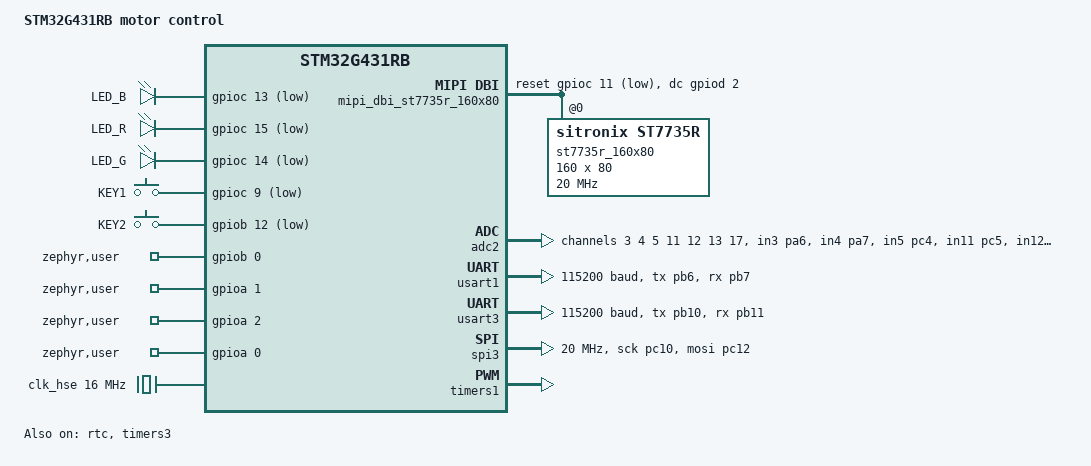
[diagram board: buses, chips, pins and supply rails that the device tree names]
/dts-v1/;
#include <st/g4/stm32g431Xb.dtsi>
#include <st/g4/stm32g431r(6-8-b)tx-pinctrl.dtsi>
#include <zephyr/dt-bindings/input/input-event-codes.h>
#include <zephyr/dt-bindings/timer/stm32-timer.h>
#include <zephyr/dt-bindings/input/input-event-codes.h>

/ {
    model = "STM32G431RB  motor control";
    compatible = "st,stm32g431rb-motor";

    chosen {
		zephyr,console = &usart1;
		zephyr,shell-uart = &usart1;
		zephyr,sram = &sram0;
		zephyr,flash = &flash0;
		zephyr,code-partition = &slot0_partition;
		zephyr,display = &st7735r_160x80;
	};

    aliases {
  		qdec0 = &qdec0;
		pwm1 = &pwm1;
		tty3 = &usart3;
		tim1 = &timers1;
		adc2 = &adc2;
    };

	mipi_dbi_st7735r_160x80 {
		compatible = "zephyr,mipi-dbi-spi";
		dc-gpios = <&gpiod 2 GPIO_ACTIVE_HIGH>;
		reset-gpios = <&gpioc 11 GPIO_ACTIVE_LOW>;
		spi-dev = <&spi3>;
		write-only;
		#address-cells = <1>;
		#size-cells = <0>;

		st7735r_160x80: st7735r@0 {
			compatible = "sitronix,st7735r";
			mipi-max-frequency = <DT_FREQ_M(20)>;
			mipi-mode = "MIPI_DBI_MODE_SPI_4WIRE";
			reg = <0>;
			width = <160>;
			height = <80>;
			// inversion-on;
			rgb-is-inverted;
			x-offset = <0>;
			y-offset = <24>;
			pwctr1 = [AB 0B 04];
			pwctr2 = [C5];
			pwctr3 = [0D 00];
			pwctr4 = [8D 6A];
			pwctr5 = [8D EE];
			invctr = <03>;
			frmctr1 = [05 3C 3C];
			frmctr2 = [05 3C 3C];
			frmctr3 = [05 3C 3C 05 3C 3C];
			vmctr1 = <15>;
			gamctrp1 = [07 0E 08 07 10 07 02 07 09 0F 25 36 00 08 04 10];
			gamctrn1 = [0A 0D 08 07 0F 07 02 07 09 0F 25 35 00 09 04 10];
			colmod = <5>;
			madctl = <0xa0>;
			caset = [00 01 00 a0];
			raset = [00 1a 00 69];
		};
	};

	leds {
		compatible = "gpio-leds";
		
		blue_led: led_b {
			gpios = <&gpioc 13 GPIO_ACTIVE_LOW>;
			label = "LED_B";
		};

		red_led: led_r {
			gpios = <&gpioc 15 GPIO_ACTIVE_LOW>;
			label = "LED_R";
		};

		green_led: led_g {
			gpios = <&gpioc 14 GPIO_ACTIVE_LOW>;
			label = "LED_G";
		};
	};

	buttons:buttons {
		compatible = "gpio-keys";
		status = "okay";

		key1: key1 {
			label = "KEY1";
			gpios = <&gpioc 9 GPIO_ACTIVE_LOW>;
			zephyr,code = <INPUT_KEY_1>;
		};

		key2: key2 {
			label = "KEY2";
			gpios = <&gpiob 12 GPIO_ACTIVE_LOW>;
			zephyr,code = <INPUT_KEY_2>;
		};
	};
	
	zephyr,user {
		gpios = <&gpiob 0 GPIO_ACTIVE_HIGH>,
				<&gpioa 1 GPIO_ACTIVE_HIGH>,
				<&gpioa 2 GPIO_ACTIVE_HIGH>,
				<&gpioa 0 GPIO_ACTIVE_HIGH>;
		status = "okay";
	};
};

&clk_lsi {
	status = "okay";
};

&clk_hsi48 {
	status = "okay";
};

&clk_hse {
	clock-frequency = <DT_FREQ_M(16)>;
	status = "okay";
};

&pll {
	div-m = <4>;
	mul-n = <85>;
	div-p = <2>;
	div-q = <2>;
	div-r = <2>;
	clocks = <&clk_hse>;
	status = "okay";
};

&rcc {
	clocks = <&pll>;
	clock-frequency = <DT_FREQ_M(170)>;
	ahb-prescaler = <1>;
	apb1-prescaler = <1>;
	apb2-prescaler = <1>;
};

&adc2 {
	st,adc-prescaler = <4>;
	st,adc-clock-source = "SYNC";
	st,adc-oversampler = "minimal";
	pinctrl-0 = <&adc2_in3_pa6
			&adc2_in4_pa7
			&adc2_in5_pc4
			&adc2_in11_pc5
			&adc2_in12_pb2
			&adc2_in13_pa5
			&adc2_in17_pa4>;
	pinctrl-names = "default";
	status = "okay";

	#address-cells = <1>;
	#size-cells = <0>;

	channel@3 {
		reg = <3>;
		zephyr,gain = "ADC_GAIN_1";
		zephyr,reference = "ADC_REF_INTERNAL";
		zephyr,acquisition-time = <ADC_ACQ_TIME_DEFAULT>;
		zephyr,resolution = <12>;
	};
	channel@4 {
		reg = <4>;
		zephyr,gain = "ADC_GAIN_1";
		zephyr,reference = "ADC_REF_INTERNAL";
		zephyr,acquisition-time = <ADC_ACQ_TIME_DEFAULT>;
		zephyr,resolution = <12>;
	};
	channel@5 {
		reg = <5>;
		zephyr,gain = "ADC_GAIN_1";
		zephyr,reference = "ADC_REF_INTERNAL";
		zephyr,acquisition-time = <ADC_ACQ_TIME_DEFAULT>;
		zephyr,resolution = <12>;
	};
	channel@11 {
		reg = <11>;
		zephyr,gain = "ADC_GAIN_1";
		zephyr,reference = "ADC_REF_INTERNAL";
		zephyr,acquisition-time = <ADC_ACQ_TIME_DEFAULT>;
		zephyr,resolution = <12>;
	};
	channel@12 {
		reg = <12>;
		zephyr,gain = "ADC_GAIN_1";
		zephyr,reference = "ADC_REF_INTERNAL";
		zephyr,acquisition-time = <ADC_ACQ_TIME_DEFAULT>;
		zephyr,resolution = <12>;
	};
	channel@13 {
		reg = <13>;
		zephyr,gain = "ADC_GAIN_1";
		zephyr,reference = "ADC_REF_INTERNAL";
		zephyr,acquisition-time = <ADC_ACQ_TIME_DEFAULT>;
		zephyr,resolution = <12>;
	};
	channel@17 {
		reg = <17>;
		zephyr,gain = "ADC_GAIN_1";
		zephyr,reference = "ADC_REF_INTERNAL";
		zephyr,acquisition-time = <ADC_ACQ_TIME_DEFAULT>;
		zephyr,resolution = <12>;
	};
};

&usart1 {
	pinctrl-0 = <&usart1_tx_pb6 &usart1_rx_pb7>;
	pinctrl-names = "default";
	current-speed = <115200>;
	status = "okay";
};

&usart3 {
	pinctrl-0 = <&usart3_tx_pb10 &usart3_rx_pb11>;
	pinctrl-names = "default";
	current-speed = <115200>;
	status = "okay";
};

&spi3 {
	pinctrl-0 = <&spi3_sck_pc10 &spi3_mosi_pc12>;
	pinctrl-names = "default";
	cs-gpios = <&gpioa 15 (GPIO_PULL_UP | GPIO_ACTIVE_HIGH)>;
	clock-frequency = <DT_FREQ_M(20)>;
	dmas = <&dmamux1 1 15 (STM32_DMA_PERIPH_TX | STM32_DMA_PRIORITY_LOW)>,
			<&dmamux1 2 14 (STM32_DMA_PERIPH_RX | STM32_DMA_PRIORITY_LOW)>;
	dma-names = "tx", "rx";
	status = "okay";
};

&rtc {
	clocks = <&rcc STM32_CLOCK(APB1, 10)>,
		 <&rcc STM32_SRC_LSI RTC_SEL(2)>;
	status = "okay";
};

&dma1 {
	status = "okay";
};

&dma2 {
	status = "okay";
};

&dmamux1 {
	status = "okay";
};

&flash0 {
	partitions {
		compatible = "fixed-partitions";
		#address-cells = <1>;
		#size-cells = <1>;

		boot_partition: partition@0 {
			label = "mcuboot";
			reg = <0x00000000 DT_SIZE_K(34)>;
		};

		slot0_partition: partition@8800 {
			label = "image-0";
			reg = <0x00008800 DT_SIZE_K(48)>;
		};

		slot1_partition: partition@14800 {
			label = "image-1";
			reg = <0x00014800 DT_SIZE_K(42)>;
		};

		/* Set 4Kb of storage at the end of the 128Kb of flash */
		storage_partition: partition@1f000 {
			label = "storage";
			reg = <0x0001f000 DT_SIZE_K(4)>;
		};
	};
};

&timers1 {
    st,prescaler = <0>;
    st,countermode = <STM32_TIM_COUNTERMODE_CENTER_UP_DOWN>;
    status = "okay";

    pwm1: pwm {
        pinctrl-0 = <&tim1_ch1_pc0 &tim1_ch2_pc1 &tim1_ch3_pc2 &tim1_ch4_pc3>;
        pinctrl-names = "default";
        status = "okay";
    };
};

&timers3 {
	st,prescaler = <0>;
	st,countermode = <STM32_TIM_COUNTERMODE_UP>;
	status = "okay";

	counter {
		status = "okay";
	};

	qdec0: qdec {
		pinctrl-0 = <&tim3_ch1_pb4 &tim3_ch2_pb5>;
		pinctrl-names = "default";
		st,encoder-mode = <3>;
		st,counts-per-revolution = <3999>;
		status = "okay";
	};
};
